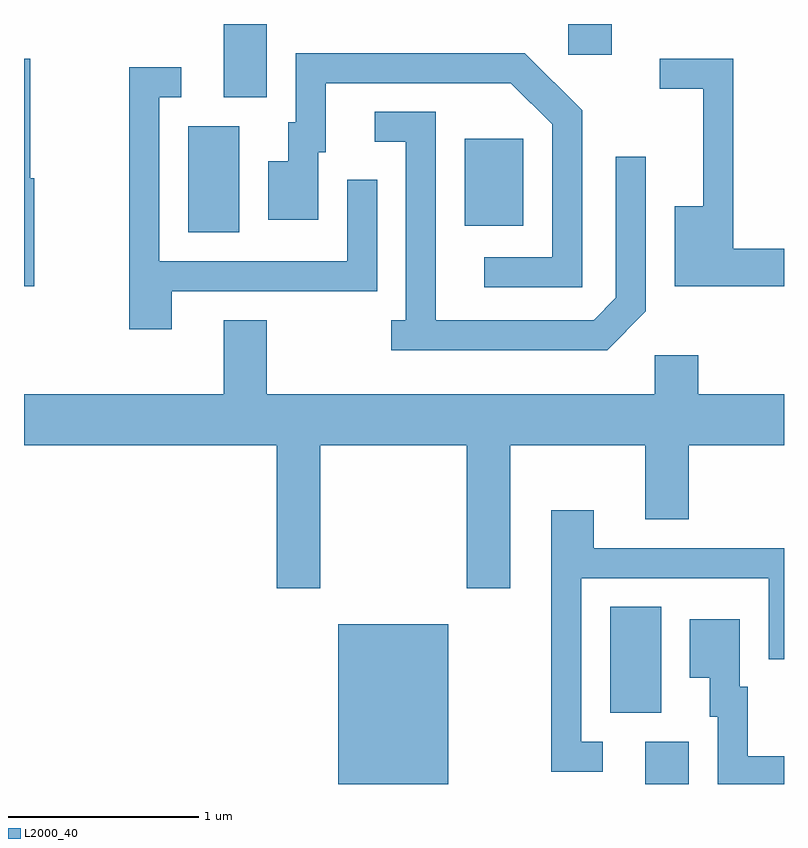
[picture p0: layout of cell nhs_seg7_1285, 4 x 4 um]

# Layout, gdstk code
import gdstk
lib = gdstk.Library(unit=1e-6, precision=1e-09)
def R(c, l, rs):  # rectangles x0, y0, x1, y1
    for r in rs: c.add(gdstk.rectangle(r[:2], r[2:], *l))
def P(c, l, *ps):  # polygons
    for p in ps: c.add(gdstk.Polygon(p, *l))
L2000_40 = (2000, 40)

nhs_seg7_1285 = lib.new_cell('nhs_seg7_1285')
R(nhs_seg7_1285, L2000_40, [(225.266,1770.252,225.844,1771.094), (226.881,1770.252,227.109,1770.474), (226.696,1770.626,226.964,1771.184), (224.476,1773.156,224.744,1773.714), (225.931,1773.191,226.239,1773.649), (224.661,1773.866,224.889,1774.252), (226.476,1774.091,226.704,1774.252)])
P(nhs_seg7_1285, L2000_40, [(226.549,1773.797),(226.247,1774.099),(225.041,1774.099),(225.041,1773.734),(225.001,1773.734),(225.001,1773.529),(224.896,1773.529),(224.896,1773.221),(225.159,1773.221),(225.159,1773.576),(225.199,1773.576),(225.199,1773.941),(226.174,1773.941),(226.391,1773.724),(226.391,1773.024),(226.033,1773.024),(226.033,1772.866),(226.549,1772.866)],
  [(227.611,1773.069),(227.344,1773.069),(227.344,1774.069),(226.958,1774.069),(226.958,1773.911),(227.186,1773.911),(227.186,1773.294),(227.036,1773.294),(227.036,1772.871),(227.611,1772.871)],
  [(223.664,1773.439),(223.644,1773.439),(223.644,1774.069),(223.611,1774.069),(223.611,1772.871),(223.664,1772.871)],
  [(224.389,1772.846),(225.469,1772.846),(225.469,1773.433),(225.311,1773.433),(225.311,1773.004),(224.324,1773.004),(224.324,1773.866),(224.438,1773.866),(224.438,1774.024),(224.166,1774.024),(224.166,1772.646),(224.389,1772.646)],
  [(226.884,1772.739),(226.884,1773.553),(226.726,1773.553),(226.726,1772.812),(226.609,1772.694),(225.779,1772.694),(225.779,1773.789),(225.458,1773.789),(225.458,1773.631),(225.621,1773.631),(225.621,1772.694),(225.543,1772.694),(225.543,1772.536),(226.682,1772.536)],
  [(225.169,1772.036),(225.941,1772.036),(225.941,1771.281),(226.169,1771.281),(226.169,1772.036),(226.881,1772.036),(226.881,1771.646),(227.109,1771.646),(227.109,1772.036),(227.611,1772.036),(227.611,1772.304),(227.159,1772.304),(227.159,1772.509),(226.931,1772.509),(226.931,1772.304),(224.889,1772.304),(224.889,1772.694),(224.661,1772.694),(224.661,1772.304),(223.611,1772.304),(223.611,1772.036),(224.941,1772.036),(224.941,1771.281),(225.169,1771.281)],
  [(226.658,1770.474),(226.544,1770.474),(226.544,1771.336),(227.531,1771.336),(227.531,1770.908),(227.611,1770.908),(227.611,1771.494),(226.609,1771.494),(226.609,1771.694),(226.386,1771.694),(226.386,1770.316),(226.658,1770.316)],
  [(227.611,1770.399),(227.419,1770.399),(227.419,1770.764),(227.379,1770.764),(227.379,1771.119),(227.116,1771.119),(227.116,1770.811),(227.221,1770.811),(227.221,1770.606),(227.261,1770.606),(227.261,1770.252),(227.611,1770.252)])

lib.write_gds('nhs_seg7_1285.gds')
